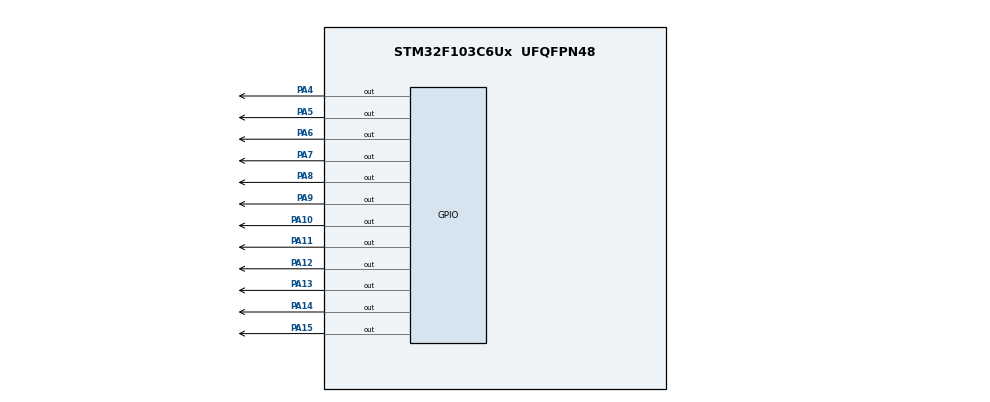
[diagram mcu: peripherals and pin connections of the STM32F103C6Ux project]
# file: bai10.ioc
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Mcu.Family=STM32F1
Mcu.Name=STM32F103C6Ux
Mcu.Package=UFQFPN48
NVIC.PriorityGroup=NVIC_PRIORITYGROUP_4
PA10.Signal=GPIO_Output
PA11.Signal=GPIO_Output
PA12.Signal=GPIO_Output
PA13.Signal=GPIO_Output
PA14.Signal=GPIO_Output
PA15.Signal=GPIO_Output
PA4.Signal=GPIO_Output
PA5.Signal=GPIO_Output
PA6.Signal=GPIO_Output
PA7.Signal=GPIO_Output
PA8.Signal=GPIO_Output
PA9.Signal=GPIO_Output
ProjectManager.HeapSize=0x200
ProjectManager.StackSize=0x400
ProjectManager.TargetToolchain=STM32CubeIDE
RCC.APB1Freq_Value=8000000
RCC.APB2Freq_Value=8000000
VP_SYS_VS_ND.Mode=No_Debug
board=custom

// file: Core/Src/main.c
/* USER CODE BEGIN Header */
/**
  ******************************************************************************
  * @file           : main.c
  * @brief          : Main program body
  ******************************************************************************
  * @attention
  *
  * <h2><center>&copy; Copyright (c) 2024 STMicroelectronics.
  * All rights reserved.</center></h2>
  *
  * This software component is licensed by ST under BSD 3-Clause license,
  * the "License"; You may not use this file except in compliance with the
  * License. You may obtain a copy of the License at:
  *                        opensource.org/licenses/BSD-3-Clause
  *
  ******************************************************************************
  */
/* USER CODE END Header */
#include "main.h"

void SystemClock_Config(void);
static void MX_GPIO_Init(void);

int main(void)
{

  /* MCU Configuration--------------------------------------------------------*/

  /* Reset of all peripherals, Initializes the Flash interface and the Systick. */
  HAL_Init();

  /* Configure the system clock */
  SystemClock_Config();

  /* Initialize all configured peripherals */
  MX_GPIO_Init();

  /* Infinite loop */
  /* USER CODE BEGIN WHILE */
  int hour = 0;
   int minute = 0;
   int second = 0;
   // bai7 là hàm clearAllClock
  void clearAllClock(void)
    {
        HAL_GPIO_WritePin(GPIOA, GPIO_PIN_4, GPIO_PIN_RESET);
        HAL_GPIO_WritePin(GPIOA, GPIO_PIN_5, GPIO_PIN_RESET);
        HAL_GPIO_WritePin(GPIOA, GPIO_PIN_6, GPIO_PIN_RESET);
        HAL_GPIO_WritePin(GPIOA, GPIO_PIN_7, GPIO_PIN_RESET);
        HAL_GPIO_WritePin(GPIOA, GPIO_PIN_8, GPIO_PIN_RESET);
        HAL_GPIO_WritePin(GPIOA, GPIO_PIN_9, GPIO_PIN_RESET);
        HAL_GPIO_WritePin(GPIOA, GPIO_PIN_10, GPIO_PIN_RESET);
        HAL_GPIO_WritePin(GPIOA, GPIO_PIN_11, GPIO_PIN_RESET);
        HAL_GPIO_WritePin(GPIOA, GPIO_PIN_12, GPIO_PIN_RESET);
        HAL_GPIO_WritePin(GPIOA, GPIO_PIN_13, GPIO_PIN_RESET);
        HAL_GPIO_WritePin(GPIOA, GPIO_PIN_14, GPIO_PIN_RESET);
        HAL_GPIO_WritePin(GPIOA, GPIO_PIN_15, GPIO_PIN_RESET);
    }
  // bài 8 là setNumberOnClock
  void setNumberOnClock(int num)
      {

    	  	  if(num == 0)
    	  	  {
    	  		HAL_GPIO_WritePin(GPIOA, GPIO_PIN_4, GPIO_PIN_SET);

    	  	  }
    	  	  if(num == 1)
    	  		  {
    	  		 HAL_GPIO_WritePin(GPIOA, GPIO_PIN_5, GPIO_PIN_SET);

    	  		  }
    	  	  if(num == 2)
    	  		  {
    	  		  HAL_GPIO_WritePin(GPIOA, GPIO_PIN_6, GPIO_PIN_SET);

    	  		  }
    	  	  if(num == 3)
    	  		  {
    	  		HAL_GPIO_WritePin(GPIOA, GPIO_PIN_7, GPIO_PIN_SET);

    	  		  }
    	  	  if(num == 4)
    	  		  {
    	  		  HAL_GPIO_WritePin(GPIOA, GPIO_PIN_8, GPIO_PIN_SET);

    	  		  }
    	  	  if(num == 5)
    	  		  {
    	  		 HAL_GPIO_WritePin(GPIOA, GPIO_PIN_9, GPIO_PIN_SET);

    	  		  }
    	  	  if(num == 6)
    	  		  {
    	  		   HAL_GPIO_WritePin(GPIOA, GPIO_PIN_10, GPIO_PIN_SET);

    	  		  }
    	  	  if(num == 7)
    	  		  {
    	  		 HAL_GPIO_WritePin(GPIOA, GPIO_PIN_11, GPIO_PIN_SET);

    	  		  }
    	  	  if(num == 8)
    	  		  {
    	  		 HAL_GPIO_WritePin(GPIOA, GPIO_PIN_12, GPIO_PIN_SET);

    	  		  }
    	  	  if(num == 9)
    	  		  {
    	  		 HAL_GPIO_WritePin(GPIOA, GPIO_PIN_13, GPIO_PIN_SET);

    	  		  }
    	  	  if(num == 10)
    	  		  {
    	  		HAL_GPIO_WritePin(GPIOA, GPIO_PIN_14, GPIO_PIN_SET);

    	  		  }
    	  	  if(num == 11)
    	  		  {
    	  		  HAL_GPIO_WritePin(GPIOA, GPIO_PIN_15, GPIO_PIN_SET);

    	  		  }

    	    }
  // bài 9 là hàm clearNumberOnClock
  void clearNumberOnClock(int num)
      {

    	  	  if(num == 0)
    	  	  {

    	  		      HAL_GPIO_WritePin(GPIOA, GPIO_PIN_4, GPIO_PIN_RESET);
    	  	  }
    	  	  if(num == 1)
    	  		  {

    	  		      HAL_GPIO_WritePin(GPIOA, GPIO_PIN_5, GPIO_PIN_RESET);
    	  		  }
    	  	  if(num == 2)
    	  		  {

    	  		      HAL_GPIO_WritePin(GPIOA, GPIO_PIN_6, GPIO_PIN_RESET);
    	  		  }
    	  	  if(num == 3)
    	  		  {

    	  		      HAL_GPIO_WritePin(GPIOA, GPIO_PIN_7, GPIO_PIN_RESET);
    	  		  }
    	  	  if(num == 4)
    	  		  {

    	  		      HAL_GPIO_WritePin(GPIOA, GPIO_PIN_8, GPIO_PIN_RESET);
    	  		  }
    	  	  if(num == 5)
    	  		  {

    	  		      HAL_GPIO_WritePin(GPIOA, GPIO_PIN_9, GPIO_PIN_RESET);
    	  		  }
    	  	  if(num == 6)
    	  		  {

    	  		      HAL_GPIO_WritePin(GPIOA, GPIO_PIN_10, GPIO_PIN_RESET);
    	  		  }
    	  	  if(num == 7)
    	  		  {

    	  		      HAL_GPIO_WritePin(GPIOA, GPIO_PIN_11, GPIO_PIN_RESET);
    	  		  }
    	  	  if(num == 8)
    	  		  {

    	  		      HAL_GPIO_WritePin(GPIOA, GPIO_PIN_12, GPIO_PIN_RESET);
    	  		  }
    	  	  if(num == 9)
    	  		  {

    	  		      HAL_GPIO_WritePin(GPIOA, GPIO_PIN_13, GPIO_PIN_RESET);
    	  		  }
    	  	  if(num == 10)
    	  		  {

    	  		      HAL_GPIO_WritePin(GPIOA, GPIO_PIN_14, GPIO_PIN_RESET);
    	  		  }
    	  	  if(num == 11)
    	  		  {

    	  		      HAL_GPIO_WritePin(GPIOA, GPIO_PIN_15, GPIO_PIN_RESET);
    	  		  }

    	    }
  while (1)
  {
	    	if(second == 60)
	    	{
	    		second = 0;
	    		minute++;
	    	}

	    	if(minute == 60)
	    	{
	    		minute = 0;
	    		hour++;
	    	}

	    	if(hour == 24)
	    	{
	    		hour = 0;
	    	}
	    	clearAllClock () ;
	    	 setNumberOnClock (second /5);
	    	 setNumberOnClock (minute /5);
	    	 setNumberOnClock (hour);
	    	 second ++;
	    	 HAL_Delay (50) ;

    /* USER CODE END WHILE */

  }
}

void SystemClock_Config(void)
{
  RCC_OscInitTypeDef RCC_OscInitStruct = {0};
  RCC_ClkInitTypeDef RCC_ClkInitStruct = {0};

  /** Initializes the RCC Oscillators according to the specified parameters
  * in the RCC_OscInitTypeDef structure.
  */
  RCC_OscInitStruct.OscillatorType = RCC_OSCILLATORTYPE_HSI;
  RCC_OscInitStruct.HSIState = RCC_HSI_ON;
  RCC_OscInitStruct.HSICalibrationValue = RCC_HSICALIBRATION_DEFAULT;
  RCC_OscInitStruct.PLL.PLLState = RCC_PLL_NONE;
  if (HAL_RCC_OscConfig(&RCC_OscInitStruct) != HAL_OK)
  {
    Error_Handler();
  }
  /** Initializes the CPU, AHB and APB buses clocks
  */
  RCC_ClkInitStruct.ClockType = RCC_CLOCKTYPE_HCLK|RCC_CLOCKTYPE_SYSCLK
                              |RCC_CLOCKTYPE_PCLK1|RCC_CLOCKTYPE_PCLK2;
  RCC_ClkInitStruct.SYSCLKSource = RCC_SYSCLKSOURCE_HSI;
  RCC_ClkInitStruct.AHBCLKDivider = RCC_SYSCLK_DIV1;
  RCC_ClkInitStruct.APB1CLKDivider = RCC_HCLK_DIV1;
  RCC_ClkInitStruct.APB2CLKDivider = RCC_HCLK_DIV1;

  if (HAL_RCC_ClockConfig(&RCC_ClkInitStruct, FLASH_LATENCY_0) != HAL_OK)
  {
    Error_Handler();
  }
}

static void MX_GPIO_Init(void)
{
  GPIO_InitTypeDef GPIO_InitStruct = {0};

  /* GPIO Ports Clock Enable */
  __HAL_RCC_GPIOA_CLK_ENABLE();

  /*Configure GPIO pin Output Level */
  HAL_GPIO_WritePin(GPIOA, GPIO_PIN_4|GPIO_PIN_5|GPIO_PIN_6|GPIO_PIN_7
                          |GPIO_PIN_8|GPIO_PIN_9|GPIO_PIN_10|GPIO_PIN_11
                          |GPIO_PIN_12|GPIO_PIN_13|GPIO_PIN_14|GPIO_PIN_15, GPIO_PIN_RESET);

  /*Configure GPIO pins : PA4 PA5 PA6 PA7
                           PA8 PA9 PA10 PA11
                           PA12 PA13 PA14 PA15 */
  GPIO_InitStruct.Pin = GPIO_PIN_4|GPIO_PIN_5|GPIO_PIN_6|GPIO_PIN_7
                          |GPIO_PIN_8|GPIO_PIN_9|GPIO_PIN_10|GPIO_PIN_11
                          |GPIO_PIN_12|GPIO_PIN_13|GPIO_PIN_14|GPIO_PIN_15;
  GPIO_InitStruct.Mode = GPIO_MODE_OUTPUT_PP;
  GPIO_InitStruct.Pull = GPIO_NOPULL;
  GPIO_InitStruct.Speed = GPIO_SPEED_FREQ_LOW;
  HAL_GPIO_Init(GPIOA, &GPIO_InitStruct);

}

void Error_Handler(void)
{
  __disable_irq();
  while (1)
  {
  }
}

/************************ (C) COPYRIGHT STMicroelectronics *****END OF FILE****/
